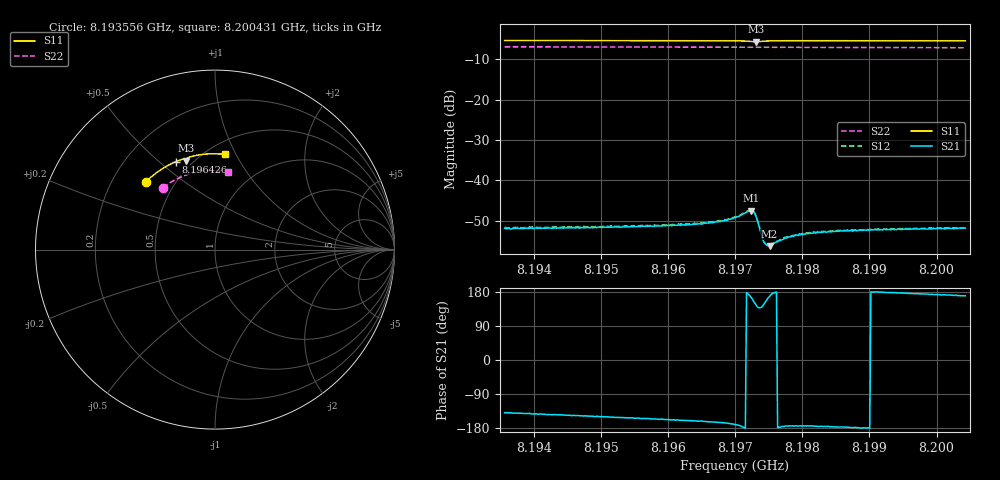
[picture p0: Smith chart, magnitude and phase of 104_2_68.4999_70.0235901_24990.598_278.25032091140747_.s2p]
#  HZ  S  RI  R  50.00
! Rohde & Schwarz Vector Network Analyzer
! Rohde-Schwarz,ZNB20-2Port,1311601062101988,3.16
! Created: UTC 3/20/2024, 4:53:11 PM
! freq[Hz]  re:S11  im:S11  re:S21  im:S21  re:S12  im:S12  re:S22  im:S22
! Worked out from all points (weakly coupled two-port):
!   401 points, 8.193556 GHz to 8.200431 GHz, reference 50 ohm
!   highest |S21| = -47.47 dB at 8.197234 GHz (marker M1); lowest = -56.2 dB at 8.197509 GHz (marker M2)
!   lowest |S11| = -5.7 dB at 8.197303 GHz (marker M3), VSWR 3.16, Z = 23 + j31.2 ohm
!   |S11| at or under -10 dB: nowhere
!   |S22| runs from -7.2 to -6.9 dB; largest |S21 - S12| = 0.00022
!   S11 on the Smith chart (normalised r, x): 8.193556 GHz: 0.34, +0.36; 8.196426 GHz: 0.41, +0.57; 8.200431 GHz: 0.61, +0.90
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8.1935558e9  -0.3862 0.3761  -0.00194 -0.00167  -0.00205 -0.00166  -0.2888 0.3449
8.1947074e9  -0.3248 0.4292  -0.0022 -0.00141  -0.00228 -0.00137  -0.236 0.3811
8.195859e9  -0.2556 0.4726  -0.0025 -0.00108  -0.00262 -0.00103  -0.1781 0.4095
8.1964261e9  -0.2187 0.49  -0.00273 -0.000928  -0.00283 -0.000848  -0.1482 0.4202
8.1967527e9  -0.1962 0.4987  -0.003 -0.000833  -0.0031 -0.0007  -0.1307 0.4254
8.1969933e9  -0.1778 0.5037  -0.00342 -0.000577  -0.00351 -0.000456  -0.1174 0.4287
8.1971824e9  -0.1609 0.5028  -0.00412 0.000334  -0.00416 0.000509  -0.1071 0.4311
8.1972339e9  -0.1574 0.4993  -0.0041 0.00107  -0.00415 0.00129  -0.1041 0.4316
8.1972683e9  -0.1571 0.4964  -0.00375 0.00169  -0.00372 0.00187  -0.1024 0.4318
8.1973027e9  -0.159 0.4948  -0.00303 0.00203  -0.00302 0.00222  -0.1006 0.4321
8.1973371e9  -0.1616 0.496  -0.00227 0.00198  -0.00223 0.00211  -0.0988 0.4326
8.1973886e9  -0.1623 0.5005  -0.0016 0.00137  -0.00161 0.00146  -0.0961 0.4334
8.197423e9  -0.1609 0.5036  -0.00145 0.000952  -0.00146 0.00104  -0.0941 0.4337
8.1974574e9  -0.1587 0.5064  -0.00147 0.00066  -0.00146 0.000675  -0.0922 0.4342
8.1974746e9  -0.1576 0.5074  -0.00147 0.00052  -0.00148 0.000571  -0.0914 0.4342
8.1975089e9  -0.1549 0.5094  -0.00151 0.000337  -0.00153 0.000379  -0.0894 0.4345
8.1977667e9  -0.1351 0.5177  -0.00193 -0.000206  -0.002 -7.88e-05  -0.075 0.437
8.1979214e9  -0.1236 0.5206  -0.00209 -0.000207  -0.00215 -0.000141  -0.0664 0.4382
8.1981449e9  -0.1075 0.5242  -0.00221 -0.000226  -0.00225 -0.000142  -0.0538 0.4394
8.1985402e9  -0.0793 0.529  -0.00235 -0.000123  -0.00242 -3.27e-05  -0.0315 0.441
8.1992964e9  -0.0256 0.5335  -0.00247 0.000102  -0.00252 0.000186  0.0113 0.4405
8.2004308e9  0.0546 0.53  -0.00251 0.000473  -0.00253 0.000609  0.0751 0.432
